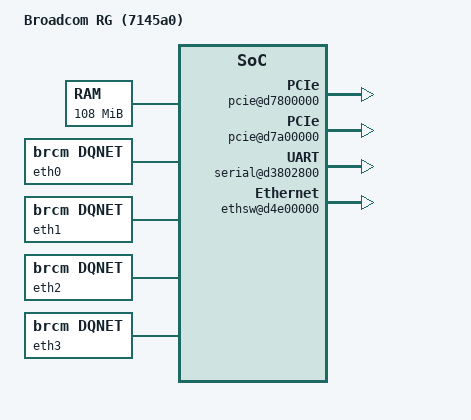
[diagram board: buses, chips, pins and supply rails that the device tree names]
/dts-v1/;

/ {
	model = "Broadcom RG (7145a0)";
	compatible = "brcm,bcm7145a0-rg";
	subsystem = "rg_2nd_core";
	#address-cells = <0x1>;
	#size-cells = <0x1>;
	interrupt-parent = <&intc>;

	chosen { /*hand edit at the end of this only*/
		bootargs = "nosmp ubifs_apps jffs2_data debug";
	};

	memory {
		#address-cells = <0x1>;
		#size-cells = <0x1>;
		device_type = "memory";
		reg = < 0x10000000 0x06c00000 >;

		region_0: region@16000000 {
			contiguous-region;
			reg = <0x16000000 0x400000>;
		};
	};

	cma-dev@0 {
		#address-cells = <0>;
		#size-cells = <0>;
		compatible = "brcm,cma-plat-dev";
		linux,contiguous-region = <&region_0>;
	};

	intc: interrupt-controller@ffd00000 {
		compatible = "arm,cortex-a15-gic";
		interrupt-controller;
		#interrupt-cells = <0x3>;
		reg = <0xffd01000 0x1000 0xffd02000 0x2000>;
	};

	pcie@d7800000 {
		reg = <0xd7800000 0x9310>;
		interrupts = <0x0 0x0 0x4>;
		compatible = "brcm,pci-plat-dev";
		device_type = "pcie";
		bus-ranges = <0 255>;
		#address-cells = <3>;
		#size-cells = <2>;
		tot-num-pcie = <2>;
		ranges = <0x02000000 0x00000000 0x00000000 0xc0000000 0x00000000 0x08000000>;
		#interrupt-cells = <1>;
		interrupt-map-mask = <0xf800 0 0 7>;
		interrupt-map = <0 0 0 1 &intc 36 3
				 0 0 0 2 &intc 37 3
				 0 0 0 3 &intc 38 3
				 0 0 0 4 &intc 39 3>;
	};

	pcie@d7a00000 {
		reg = <0xd7a00000 0x9310>;
		interrupts = <0x0 0x0 0x4>;
		compatible = "brcm,pci-plat-dev";
		device_type = "pci";
		bus-ranges = <0 255>;
		#address-cells = <3>;
		#size-cells = <2>;
		tot-num-pcie = <2>;
		ranges = <0x02000000 0x00000000 0x08000000 0xc8000000 0x00000000 0x08000000>;
		#interrupt-cells = <1>;
		interrupt-map-mask = <0xf800 0 0 7>;
		interrupt-map = <0 0 0 1 &intc 43 3
				 0 0 0 2 &intc 44 3
				 0 0 0 3 &intc 45 3
				 0 0 0 4 &intc 46 3>;
	};


	timer {
		compatible = "arm,cortex-a15-timer",
			     "arm,armv7-timer";
		interrupts = <1 13 0x0f08>,
			     <1 14 0x0f08>,
			     <1 11 0x0f08>,
			     <1 10 0x0f08>;
	};

	brcm-mbox {
		compatible = "brcm,brcm-mbox";
		read = < 0x0000000F >; /* 0,1,2,3 */
		write = < 0x00000004 >; /* 2 */
		reg =   <0xd38f0080 0x7C>,
				<0xd38f0000 0x7C>;
		interrupts = <0 114 0x4>;
	};

	serial@d3802800 {
		compatible = "brcm,buggy-dw-apb-uart", "ns16550a";
		reg = <0xd3802800 0x20>;
		reg-shift = <0x2>;
		reg-io-width = <0x4>;
		interrupts = <0x0 72 0x4>;
		clock-frequency = <81000000>;
	};

	t1 {
		compatible = "brcm,t1";
	};

	t2 {
		compatible = "brcm,t2";
	};

	fpm@0xd3a00000 {
		compatible = "brcm,fpm";
		brcm-resrv;
		reg = <0x1a230000 0x2000000>,	/* Free Pool 0	*/
		      <0xd3a00000 0x20000>;	/* Registers	*/
		init = <0>;
	};

	dqm@d38f0000 {
		compatible = "brcm,dqm";
		reg = <0xd38f0000 0x8000>;
		interrupts = <0 114 0>;

		dev-name = "cpucomm";

		l1-irq-mask-offset	= <0x0050>;
		l1-irq-status-offset	= <0x0054>;
		l1-irq-dqm-mask		= <0x00400000>;

		cfg-offset		= <0x0380>;
		lwm-irq-mask-offset	= <0x038c>;
		lwm-irq-status-offset	= <0x03a0>;
		ne-irq-mask-offset	= <0x03cc>;
		ne-irq-status-offset	= <0x03e0>;
		ne-status-offset	= <0x03e8>;
		q-ctl-base-offset	= <0x0400>;
		q-data-base-offset	= <0x0800>;
		q-status-base-offset	= <0x0b00>;
		q-mib-base-offset       = <0x0c00>;

		q-word-count		= <4>;
		q-count			= <32>;
		cfg-qsm			= <0>;
		qsm-size		= <0x1000>;
	};

	dqm@d4600000 {
		compatible = "brcm,dqm";
		reg = <0xd4600000 0x200000>;
		interrupts = <0 111 0>;

		dev-name = "gfap";

		l1-irq-mask-offset	= <0x1008>;
		l1-irq-status-offset	= <0x100c>;
		l1-irq-dqm-mask		= <0x00000008 0x02000000>;

		cfg-offset		= <0x1800 0x2200>;
		lwm-irq-mask-offset	= <0x1808 0x2208>;
		lwm-irq-status-offset	= <0x180c 0x220c>;
		ne-irq-mask-offset	= <0x1814 0x2214>;
		ne-irq-status-offset	= <0x1818 0x2218>;
		ne-status-offset	= <0x1820 0x2220>;

		q-ctl-base-offset	= <0x1a00 0x2400>;
		q-data-base-offset	= <0x1c00 0x2600>;
		q-status-base-offset	= <0x1f00 0x2900>;
		q-mib-base-offset       = <0x2000 0x2a00>;

		q-word-count		= <4>;
		q-count			= <64>;
		cfg-qsm			= <0>;
		qsm-size		= <0x3000>;
	};

	rpcrgstb: rpcrgstb {
		compatible = "brcm,itc-rpc";
		dev-name = "rg-stb";
		dqm = "cpucomm";
		tx-q = <0>;
		rx-q = <1>;
	};

	rpcrgcm: rpcrgcm {
		compatible = "brcm,itc-rpc";
		dev-name = "rg-cm";
		dqm = "cpucomm";
		tx-q = <2>;
		rx-q = <3>;
	};

	vflashclient {
		compatible = "brcm,brcm-vflashclient";
		brcm-resrv;
		reg = <0x16400000 0x400000>;
		client_id = <0>;
		rpc_channel = <&rpcrgstb>;
	};

	qchan0: q-channel0 {
		dev-name = "fap-exception";

		#tx-q-cells = <3>;
		/*	DQM device,	Q#,	Priority				*/
		tx-q =	"gfap",		"12",	"0",	/* RG-->GFAP, hi priority	*/
			"gfap",		"13",	"1";	/* RG-->GFAP, lo priority	*/
		#rx-q-cells = <3>;
		/*	DQM device,	Q#,	Priority				*/
		rx-q =	"gfap",		"27",	"0",	/* GFAP-->RG, hi priority	*/
			"gfap",		"26",	"1";	/* GFAP-->RG, lo priority	*/

		type = "fap-exception";
		q-msg-fmt = "gfap";
	};

        qchan1: q-channel1 {
                dev-name = "stb-private";

		#tx-q-cells = <3>;
		/*	DQM device,	Q#,	Priority		*/
		tx-q =	"cpucomm",	"17",	"0";	/* RG-->STB	*/
		#rx-q-cells = <3>;
		/*	DQM device,	Q#,	Priority		*/
		rx-q =	"cpucomm",	"16",	"0";	/* STB-->RG	*/

		type = "point-to-point";
		q-msg-fmt = "gfap";
        };

	priv1 { /* RG <--> STB private */
		compatible = "brcm,dqnet";
		channel = <&qchan1>;
		dev-name = "priv1";
		if-id = <0>;
		if-sub-id = <0>;
		demux = "none";
		link-type = "rpc";
		rpc-channel = <&rpcrgstb>;
	};

	stb0 {
		compatible = "brcm,dqnet";
		channel = <&qchan0>;
		dev-name = "stb0";
		if-id = <14>;
		if-sub-id = <0>;
		demux = "subid";
		link-type = "rpc";
		rpc-channel = <&rpcrgstb>;
	};

	stb1 {
		compatible = "brcm,dqnet";
		channel = <&qchan0>;
		dev-name = "stb1";
		if-id = <13>;
		if-sub-id = <0>;
		demux = "subid";
		link-type = "rpc";
		rpc-channel = <&rpcrgstb>;
	};

	eth0: ethernet0 {
		compatible = "brcm,dqnet";
		channel = <&qchan0>;
		dev-name = "eth0";
		if-id = <0>;
		if-sub-id = <0>; /* if-sub-id must match the first column in phy-port node */
		demux = "arl";
		link-type = "switch";
	};

	eth1: ethernet1 {
		compatible = "brcm,dqnet";
		channel = <&qchan0>;
		dev-name = "eth1";
		if-id = <0>;
		if-sub-id = <1>; /* if-sub-id must match the first column in phy-port node */
		demux = "arl";
		link-type = "switch";
	};

	eth2: ethernet2 {
		compatible = "brcm,dqnet";
		channel = <&qchan0>;
		dev-name = "eth2";
		if-id = <0>;
		if-sub-id = <2>; /* if-sub-id must match the first column in phy-port node */
		demux = "arl";
		link-type = "switch";
	};

	eth3: ethernet3 {
		compatible = "brcm,dqnet";
		channel = <&qchan0>;
		dev-name = "eth3";
		if-id = <0>;
		if-sub-id = <3>; /* if-sub-id must match the first column in phy-port node */
		demux = "arl";
		link-type = "switch";
	};

	moca0: moca0 {
		compatible = "brcm,dqnet";
		channel = <&qchan0>;
		dev-name = "moca0"; /* moca[0-based MAC index] */
		if-id = <0>;
		if-sub-id = <7>; /* if-sub-id must match the first column in phy-port node */
		demux = "arl";
		link-type = "switch";
	};

	cm0 {
		compatible = "brcm,dqnet";
		channel = <&qchan0>;
		dev-name = "cm0"; /* cm[0-based index] */
		if-id = <15>;
		if-sub-id = <0>;
		demux = "subid";
		link-type = "rpc";
		rpc-channel = <&rpcrgcm>;
	};

	ethsw@d4e00000 {
		compatible = "brcm,ethsw";
		reg        = <0xd4e00000 0x42000>;
		interrupts = <0x0 0x65 0x0>,
			     <0x0 0x66 0x0>;

		dev-name   = "ethsw";
		phy-port   = <0 1>,
			     <1 2>,
			     <2 3>,
			     <3 4>;
		mii-port   = <7 0 1000>;
		imp-port   = <5 2000>,
			     <8 2000>;

		led-map    = <0x8f>;
	};

	unimac@d4800000 {
		compatible = "brcm,unimac";
		reg = <0xd4800000 0x20000>;
		mbdma_reg_offset = <0x0>;
		unimac_reg_offset = <0x600>;
		id_string = "unimac0";
		mbdma_use_scb = <0x1>;
	};

	unimac@d4a00000 {
		compatible = "brcm,unimac";
		reg = <0xd4a00000 0x20000>;
		mbdma_reg_offset = <0x0>;
		unimac_reg_offset = <0x600>;
		id_string = "unimac1";
		mbdma_use_scb = <0x1>;
	};

	gfap@d4600000 {
		compatible = "brcm,gfap";
		reg = <0xd4600000 0x1000000>;
		id_string = "gfap";
		gfap_use_scb = <0x1>;
	};
/*
	bmoca@0xd7c00000 {
		compatible = "brcm,bmoca-instance";
		#address-cells = <1>;
		#size-cells = <1>;
		chip-id = <0x714500a0>;
		reg = <0xd7c00000 0x1ffda0>;
		interrupts = <0 0x15 0>;
		hw-rev = <0x2003>;
		rf-band = <0>;
		enet-id = <1>;
		mac-address = [ 00 10 18 85 71 45 ];
	};
*/
};
